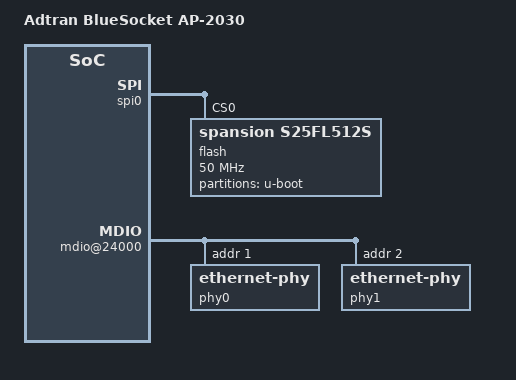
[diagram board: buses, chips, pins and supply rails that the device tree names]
// SPDX-License-Identifier: GPL-2.0-or-later or MIT
/include/ "fsl/p1010si-pre.dtsi"

/ {
	model = "Adtran BlueSocket AP-2030";
	compatible = "adtran,bsap-2030";

	chosen {
		bootargs-override = "console=ttyS0,115200";
	};

	aliases {
		ethernet0 = "/soc@ffe00000/ethernet@b0000";
		ethernet1 = "/soc@ffe00000/ethernet@b1000";
		label-mac-device = &enet0;
	};

	memory {
		device_type = "memory";
	};

	soc: soc@ffe00000 {
		ranges = <0x0 0x0 0xffe00000 0x100000>;

		spi0: spi@7000 {
			cell-index = <0x00>;
			#address-cells = <0x01>;
			#size-cells = <0x00>;
			compatible = "fsl,espi";
			reg = <0x7000 0x1000>;
			interrupts = <0x3b 0x02>;
			interrupt-parent = <0x02>;
			espi,num-ss-bits = <0x04>;
			mode = "cpu";
			fsl,espi-num-chipselects = <0x01>;

			flash@0 {
				compatible = "spansion,s25fl512s";
				reg = <0>;
				spi-max-frequency = <50000000>;

				partitions {
					compatible = "fixed-partitions";
					#address-cells = <1>;
					#size-cells = <1>;

					partition@0 {
						reg = <0x0 0x4000000>;
						label = "u-boot";
						read-only;
					};
				};
			};
		};

		gpio-controller@f000 {
			#gpio-cells = <0x02>;
			compatible = "fsl,mpc8572-gpio";
			reg = <0xf000 0x100>;
			interrupts = <0x2f 0x02>;
			interrupt-parent = <0x02>;
			gpio-controller;
		};

		usb@22000 {
			phy_type = "utmi";
			dr_mode = "host";
		};

		mdio@24000 {
			phy0: ethernet-phy@0 {
				interrupts = <0x03 0x01>;
				reg = <0x01>;
			};

			phy1: ethernet-phy@1 {
				interrupts = <0x02 0x01>;
				reg = <0x02>;
			};
		};

		mdio@25000 {
			status = "disabled";
		};

		mdio@26000 {
			status = "disabled";
		};

		enet0: ethernet@b0000 {
			phy-handle = <&phy0>;
			phy-connection-type = "rgmii-id";
		};

		enet1: ethernet@b1000 {
			phy-handle = <&phy1>;
			phy-connection-type = "rgmii-id";
		};

		enet2: ethernet@b2000 {
			status = "disabled";
		};

		sdhc@2e000 {
			status = "disabled";
		};

		serial1: serial@4600 {
			status = "disabled";
		};

		can0: can@1c000 {
			status = "disabled";
		};

		can1: can@1d000 {
			status = "disabled";
		};

		ptp_clock@b0e00 {
			compatible = "fsl,etsec-ptp";
			reg = <0xb0e00 0xb0>;
			interrupts = <68 2 0 0 69 2 0 0 70 2 0 0>;
			fsl,cksel       = <1>;
			fsl,tclk-period	= <5>;
			fsl,tmr-prsc	= <2>;
			fsl,tmr-add	= <0xcccccccd>;
			fsl,tmr-fiper1	= <0x3b9ac9fb>; /* 1PPS */
			fsl,tmr-fiper2	= <0x00018696>;
			fsl,max-adj	= <249999999>;
		};
	};

	pci0: pcie@ffe09000 {
		reg = <0 0xffe09000 0 0x1000>;
		ranges = <0x2000000 0x0 0xa0000000 0 0xa0000000 0x0 0x20000000
			  0x1000000 0x0 0x00000000 0 0xffc10000 0x0 0x10000>;
		pcie@0 {
			ranges = <0x2000000 0x0 0xa0000000
				  0x2000000 0x0 0xa0000000
				  0x0 0x20000000

				  0x1000000 0x0 0x0
				  0x1000000 0x0 0x0
				  0x0 0x100000>;
		};
	};

	pci1: pcie@ffe0a000 {
		reg = <0 0xffe0a000 0 0x1000>;
		ranges = <0x2000000 0x0 0x80000000 0 0x80000000 0x0 0x20000000
			  0x1000000 0x0 0x00000000 0 0xffc00000 0x0 0x10000>;
		pcie@0 {
			ranges = <0x2000000 0x0 0x80000000
				  0x2000000 0x0 0x80000000
				  0x0 0x20000000

				  0x1000000 0x0 0x0
				  0x1000000 0x0 0x0
				  0x0 0x100000>;
		};
	};

	ifc: ifc@ffe1e000 {
		status = "disabled";
	};

	/* buttons { */
	/*	compatible = "gpio-keys"; */

	/*	reset { */
	/*		label = "Reset button"; */
	/*		gpios = <&gpio0 5 1>; /\* active low *\/ */
	/*		linux,code = <0x198>; /\* KEY_RESTART *\/ */
	/*	}; */
	/* }; */
};

/include/ "fsl/p1010si-post.dtsi"
